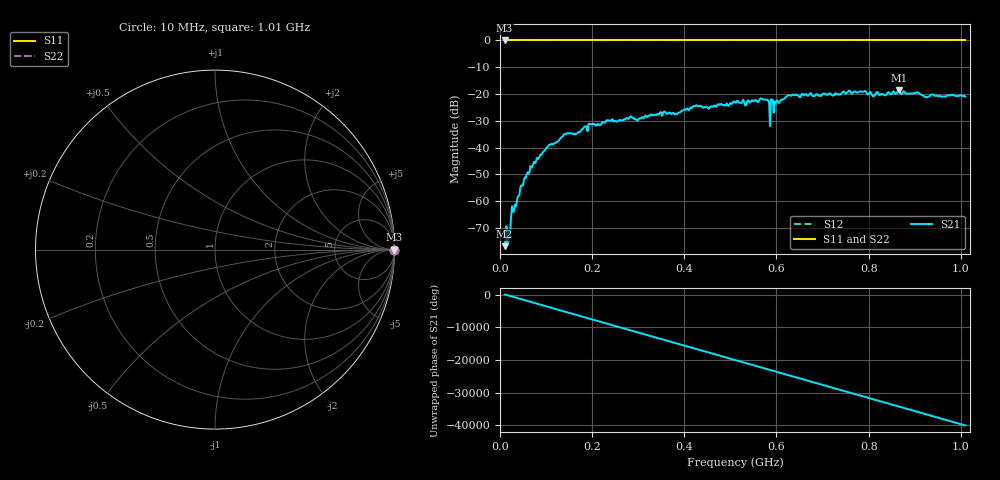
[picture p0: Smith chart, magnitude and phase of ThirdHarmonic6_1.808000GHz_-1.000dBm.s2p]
! 8/16/2025 9:53:59 PM
! C:\ANRITSUVNA\TEMP\TEMP.S2P
! CHANNEL.1
! TR.MEASUREMENT
! RAW.DATA
! RF.CORRECTION.OFF
! AVERAGING.OFF
! IF.BANDWIDTH: 5KHZ
! SWEEPTYPE:  FREQ.SWEEP(Linear)
! Reference Plane Port Info
! PORT:  PORT1  PORT2
! DISTANCE:  0  m  0  m
! TIME:  0  s  0  s
! PHASE.OFFSET:  0  deg.  0  deg.
! LOSS:  0  dB  0  dB
! REF.LOSS:  0  dB  0  dB
! REF.FREQ:  0  Hz  0  Hz
! Power Info
! POWER:  -20  dBm  -20  dBm
! EFF.POWER:  -20  dBm  -20  dBm
! SOURCE.ATTEN:  0  dB  0  dB
! TEST.ATTEN:  0  dB  0  dB
# GHZ S RI R 50.0
! FREQ.GHZ  S11RE  S11IM  S21RE  S21IM  S12RE  S12IM  S22RE  S22IM
!; PortSelection: Port_12
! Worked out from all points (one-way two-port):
!   501 points, 10 MHz to 1.01 GHz, reference 50 ohm
!   highest |S21| = -18.48 dB at 866 MHz (marker M1); lowest = -76.8 dB at 10 MHz (marker M2)
!   lowest |S11| = 0.0 dB at 10 MHz (marker M3)
!   |S11| at or under -10 dB: nowhere
!   |S22| runs from 0.0 to 0.0 dB; largest |S21 - S12| = 1.1
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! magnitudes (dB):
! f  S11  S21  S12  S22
! 10 MHz  0.0  -76.8  0.0  0.0
! 20 MHz  0.0  -73.8  0.0  0.0
! 28 MHz  0.0  -64.0  0.0  0.0
! 48 MHz  0.0  -54.1  0.0  0.0
! 70 MHz  0.0  -47.1  0.0  0.0
! 106 MHz  0.0  -39.0  0.0  0.0
! 142 MHz  0.0  -35.0  0.0  0.0
! 178 MHz  0.0  -33.2  0.0  0.0
! 196 MHz  0.0  -31.2  0.0  0.0
! 344 MHz  0.0  -27.8  0.0  0.0
! 382 MHz  0.0  -27.5  0.0  0.0
! 424 MHz  0.0  -24.4  0.0  0.0
! 510 MHz  0.0  -23.1  0.0  0.0
! 570 MHz  0.0  -21.9  0.0  0.0
! 590 MHz  0.0  -22.0  0.0  0.0
! 592 MHz  0.0  -22.3  0.0  0.0
! 626 MHz  0.0  -20.4  0.0  0.0
! 678 MHz  0.0  -20.7  0.0  0.0
! 844 MHz  0.0  -19.4  0.0  0.0
! 866 MHz  0.0  -18.5  0.0  0.0
! 926 MHz  0.0  -21.2  0.0  0.0
! 1.01 GHz  0.0  -21.0  0.0  0.0
